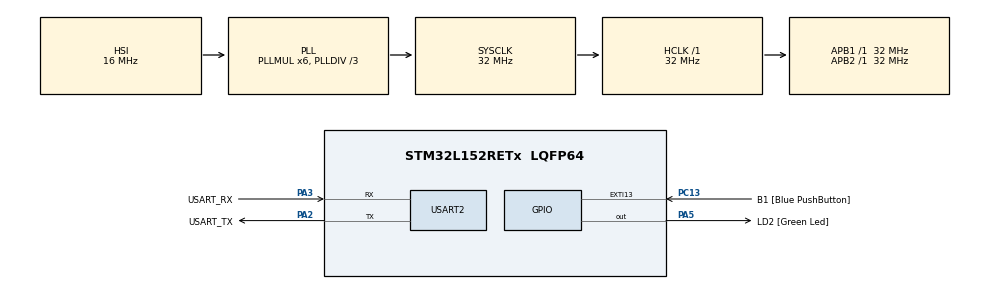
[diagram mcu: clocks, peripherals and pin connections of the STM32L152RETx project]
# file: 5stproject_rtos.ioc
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FREERTOS.Tasks01=defaultTask,0,128,StartDefaultTask,Default,NULL,Dynamic,NULL,NULL
Mcu.Family=STM32L1
Mcu.Name=STM32L152RETx
Mcu.Package=LQFP64
NVIC.PriorityGroup=NVIC_PRIORITYGROUP_4
NVIC.TIM6_IRQn=true\:15\:0\:false\:false\:true\:false\:false\:true\:true
NVIC.TimeBase=TIM6_IRQn
NVIC.TimeBaseIP=TIM6
PA13.GPIO_Label=TMS
PA13.Mode=Serial_Wire
PA13.Signal=SYS_JTMS-SWDIO
PA14.GPIO_Label=TCK
PA14.Mode=Serial_Wire
PA14.Signal=SYS_JTCK-SWCLK
PA2.GPIO_Label=USART_TX
PA2.Mode=Asynchronous
PA2.Signal=USART2_TX
PA3.GPIO_Label=USART_RX
PA3.Mode=Asynchronous
PA3.Signal=USART2_RX
PA5.GPIO_Label=LD2 [Green Led]
PA5.Signal=GPIO_Output
PB3.GPIO_Label=SWO
PB3.Signal=SYS_JTDO-TRACESWO
PC13-WKUP2.GPIO_Label=B1 [Blue PushButton]
PC13-WKUP2.Signal=GPXTI13
PC14-OSC32_IN.Mode=LSE-External-Oscillator
PC14-OSC32_IN.Signal=RCC_OSC32_IN
PC15-OSC32_OUT.Mode=LSE-External-Oscillator
PC15-OSC32_OUT.Signal=RCC_OSC32_OUT
PH0-OSC_IN.Mode=HSE-External-Clock-Source
PH0-OSC_IN.Signal=RCC_OSC_IN
PH1-OSC_OUT.Signal=RCC_OSC_OUT
ProjectManager.HeapSize=0x200
ProjectManager.StackSize=0x400
ProjectManager.TargetToolchain=STM32CubeIDE
RCC.48MHZClocksFreq_Value=48000000
RCC.AHBFreq_Value=32000000
RCC.APB1Freq_Value=32000000
RCC.APB1TimFreq_Value=32000000
RCC.APB2Freq_Value=32000000
RCC.APB2TimFreq_Value=32000000
RCC.HCLKFreq_Value=32000000
RCC.HSE_VALUE=8000000
RCC.HSI_VALUE=16000000
RCC.MSI_VALUE=2097000
RCC.PLLDIV=RCC_PLL_DIV3
RCC.PLLMUL=RCC_PLL_MUL6
RCC.RTCClockSelectionVirtual=RCC_RTCCLKSOURCE_LSE
RCC.SYSCLKFreq_VALUE=32000000
RCC.SYSCLKSource=RCC_SYSCLKSOURCE_PLLCLK
RCC.USBOutput=48000000
RCC.VCOOutputFreq_Value=96000000
USART2.VirtualMode=VM_ASYNC
VP_FREERTOS_VS_CMSIS_V1.Mode=CMSIS_V1
VP_SYS_VS_tim6.Mode=TIM6
board=NUCLEO-L152RE

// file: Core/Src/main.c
/* USER CODE BEGIN Header */
/**
  ******************************************************************************
  * @file           : main.c
  * @brief          : Main program body
  ******************************************************************************
  * @attention
  *
  * <h2><center>&copy; Copyright (c) 2022 STMicroelectronics.
  * All rights reserved.</center></h2>
  *
  * This software component is licensed by ST under BSD 3-Clause license,
  * the "License"; You may not use this file except in compliance with the
  * License. You may obtain a copy of the License at:
  *                        opensource.org/licenses/BSD-3-Clause
  *
  ******************************************************************************
  */
/* USER CODE END Header */
#include "main.h"
#include "cmsis_os.h"

/* USER CODE BEGIN Includes */
#include "freertos.h"
#include "task.h"
#include "stdio.h"

/* USER CODE END Includes */

UART_HandleTypeDef huart2;

/* USER CODE BEGIN PV */
TaskHandle_t myTask1Handle =  NULL;
TaskHandle_t myTask2Handle =  NULL;

QueueHandle_t myQueue;
UBaseType_t space_avaible;
/* USER CODE END PV */

void SystemClock_Config(void);
static void MX_GPIO_Init(void);
static void MX_USART2_UART_Init(void);
void StartDefaultTask(void const * argument);

/* USER CODE BEGIN 0 */
void myTask1(void *p) {
 int count = 1;

	char myTxBuff[30];
	myQueue = xQueueCreate(5, sizeof(myTxBuff));
	sprintf(myTxBuff, "message1");
	xQueueSend(myQueue, (void*) myTxBuff, (TickType_t) 0);

	sprintf(myTxBuff, "message2");
	xQueueSendToFront(myQueue, (void*) myTxBuff, (TickType_t) 0);

	sprintf(myTxBuff, "message3");
	xQueueSend(myQueue, (void*) myTxBuff, (TickType_t) 0);

	printf("data waiting to be read %d:\r\n ", (int) uxQueueMessagesWaiting(myQueue));

	while(1) {
		printf("hello, task1! :%d\r\n", count);
		vTaskDelay(5000);
		sprintf(myTxBuff, "message4");
		xQueueSend(myQueue, (void*) myTxBuff, (TickType_t) 0);
	}
}

void myTask2(void *p) {
	int count = 2;

	char myRxBuff[30];

	while(1) {
		printf("hello, task2! :%d\r\n", count);
		if (myQueue != 0) {
			space_avaible = uxQueueSpacesAvailable(myQueue);
			printf("space available: %d\r\n", space_avaible);
			if (xQueueReceive(myQueue, (void *) myRxBuff, (TickType_t) 5)) {
				printf("data received: %s\r\n", myRxBuff);
			}
		}

		vTaskDelay(1000);
	}

}

/* USER CODE END 0 */

int main(void)
{

  /* MCU Configuration--------------------------------------------------------*/

  /* Reset of all peripherals, Initializes the Flash interface and the Systick. */
  HAL_Init();

  /* Configure the system clock */
  SystemClock_Config();

  /* Initialize all configured peripherals */
  MX_GPIO_Init();
  MX_USART2_UART_Init();

  /* Create the thread(s) */
  /* definition and creation of defaultTask */

  /* USER CODE BEGIN RTOS_THREADS */
  /* add threads, ... */
  xTaskCreate(myTask1, "task1", 200, (void *) 0, tskIDLE_PRIORITY + 1, &myTask1Handle);
  	xTaskCreate(myTask2, "task2", 200, (void *) NULL, tskIDLE_PRIORITY + 1, &myTask2Handle);
  /* USER CODE END RTOS_THREADS */

  /* Start scheduler */
  vTaskStartScheduler();

  /* We should never get here as control is now taken by the scheduler */
  /* Infinite loop */
  while (1)
  {

  }
}

void SystemClock_Config(void)
{
  RCC_OscInitTypeDef RCC_OscInitStruct = {0};
  RCC_ClkInitTypeDef RCC_ClkInitStruct = {0};

  /** Configure the main internal regulator output voltage
  */
  __HAL_PWR_VOLTAGESCALING_CONFIG(PWR_REGULATOR_VOLTAGE_SCALE1);
  /** Initializes the RCC Oscillators according to the specified parameters
  * in the RCC_OscInitTypeDef structure.
  */
  RCC_OscInitStruct.OscillatorType = RCC_OSCILLATORTYPE_HSI;
  RCC_OscInitStruct.HSIState = RCC_HSI_ON;
  RCC_OscInitStruct.HSICalibrationValue = RCC_HSICALIBRATION_DEFAULT;
  RCC_OscInitStruct.PLL.PLLState = RCC_PLL_ON;
  RCC_OscInitStruct.PLL.PLLSource = RCC_PLLSOURCE_HSI;
  RCC_OscInitStruct.PLL.PLLMUL = RCC_PLL_MUL6;
  RCC_OscInitStruct.PLL.PLLDIV = RCC_PLL_DIV3;
  if (HAL_RCC_OscConfig(&RCC_OscInitStruct) != HAL_OK)
  {
    Error_Handler();
  }
  /** Initializes the CPU, AHB and APB buses clocks
  */
  RCC_ClkInitStruct.ClockType = RCC_CLOCKTYPE_HCLK|RCC_CLOCKTYPE_SYSCLK
                              |RCC_CLOCKTYPE_PCLK1|RCC_CLOCKTYPE_PCLK2;
  RCC_ClkInitStruct.SYSCLKSource = RCC_SYSCLKSOURCE_PLLCLK;
  RCC_ClkInitStruct.AHBCLKDivider = RCC_SYSCLK_DIV1;
  RCC_ClkInitStruct.APB1CLKDivider = RCC_HCLK_DIV1;
  RCC_ClkInitStruct.APB2CLKDivider = RCC_HCLK_DIV1;

  if (HAL_RCC_ClockConfig(&RCC_ClkInitStruct, FLASH_LATENCY_1) != HAL_OK)
  {
    Error_Handler();
  }
}

static void MX_USART2_UART_Init(void)
{

  huart2.Instance = USART2;
  huart2.Init.BaudRate = 115200;
  huart2.Init.WordLength = UART_WORDLENGTH_8B;
  huart2.Init.StopBits = UART_STOPBITS_1;
  huart2.Init.Parity = UART_PARITY_NONE;
  huart2.Init.Mode = UART_MODE_TX_RX;
  huart2.Init.HwFlowCtl = UART_HWCONTROL_NONE;
  huart2.Init.OverSampling = UART_OVERSAMPLING_16;
  if (HAL_UART_Init(&huart2) != HAL_OK)
  {
    Error_Handler();
  }

}

static void MX_GPIO_Init(void)
{
  GPIO_InitTypeDef GPIO_InitStruct = {0};

  /* GPIO Ports Clock Enable */
  __HAL_RCC_GPIOC_CLK_ENABLE();
  __HAL_RCC_GPIOH_CLK_ENABLE();
  __HAL_RCC_GPIOA_CLK_ENABLE();
  __HAL_RCC_GPIOB_CLK_ENABLE();

  /*Configure GPIO pin Output Level */
  HAL_GPIO_WritePin(LD2_GPIO_Port, LD2_Pin, GPIO_PIN_RESET);

  /*Configure GPIO pin : B1_Pin */
  GPIO_InitStruct.Pin = B1_Pin;
  GPIO_InitStruct.Mode = GPIO_MODE_IT_RISING;
  GPIO_InitStruct.Pull = GPIO_NOPULL;
  HAL_GPIO_Init(B1_GPIO_Port, &GPIO_InitStruct);

  /*Configure GPIO pin : LD2_Pin */
  GPIO_InitStruct.Pin = LD2_Pin;
  GPIO_InitStruct.Mode = GPIO_MODE_OUTPUT_PP;
  GPIO_InitStruct.Pull = GPIO_NOPULL;
  GPIO_InitStruct.Speed = GPIO_SPEED_FREQ_LOW;
  HAL_GPIO_Init(LD2_GPIO_Port, &GPIO_InitStruct);

}

/* USER CODE BEGIN 4 */
int _write(int file, char *ptr, int len) {
	(void)file;
	int DataIdx;

	for (DataIdx = 0; DataIdx < len; DataIdx++) {
		ITM_SendChar (*ptr++);
	}

	return len;
}

/* USER CODE END 4 */

void StartDefaultTask(void const * argument)
{
  for(;;)
  {
    osDelay(1);
  }
}

void HAL_TIM_PeriodElapsedCallback(TIM_HandleTypeDef *htim)
{
  if (htim->Instance == TIM6) {
    HAL_IncTick();
  }
}

void Error_Handler(void)
{
  __disable_irq();
  while (1)
  {
  }
}

/************************ (C) COPYRIGHT STMicroelectronics *****END OF FILE****/
